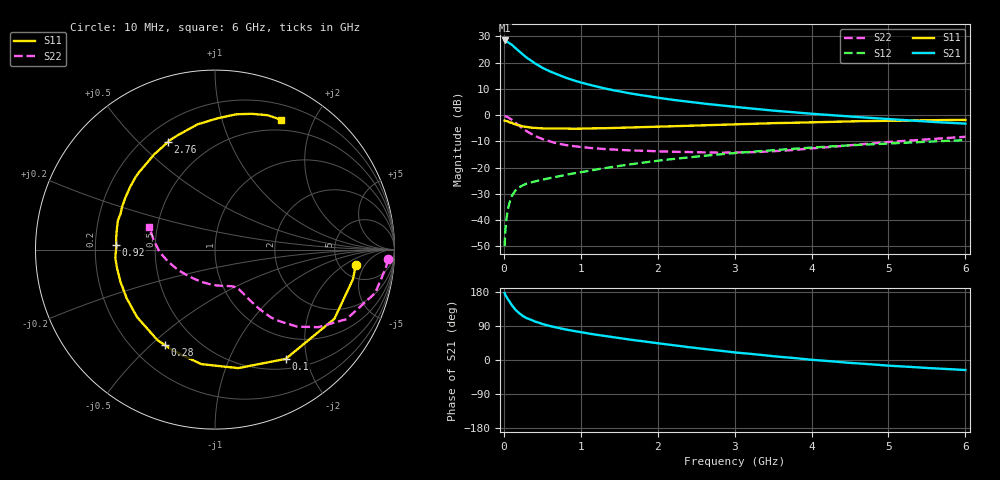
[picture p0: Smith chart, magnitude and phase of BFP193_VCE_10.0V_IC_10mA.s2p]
! Infineon Technologies  Discrete & RF Semiconductors
! BFP193
! VCE = 10.0V,  IC =  10 mA
! Common Emitter S-Parameters:  Jan 2016
# GHz  S  MA  R  50
!  f  S11  S21  S12  S22
! GHz  MAG  ANG  MAG  ANG  MAG  ANG  MAG  ANG
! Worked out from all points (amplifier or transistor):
!   210 points, 10 MHz to 6 GHz, reference 50 ohm
!   highest |S21| = 28.5 dB at 10 MHz (marker M1)
!   |S21| within 3 dB of that: start of sweep to 155.3 MHz
!   unconditionally stable (mu >= 1): 1.077 GHz to 3.903 GHz
!   at 185 MHz: K = 0.32, MSG = 26.3 dB, |S12| = -27.8 dB
!   at 1.52 GHz: K = 1.07, MAG = 12.5 dB, |S12| = -19.3 dB
!   at 6 GHz: K = 0.89, MSG = 3.1 dB, |S12| = -9.5 dB
!   S11 on the Smith chart (normalised r, x): 10 MHz: 6.99, -3.21; 100 MHz: 0.64, -1.65; 280 MHz: 0.33, -0.55; 920 MHz: 0.29, +0.02; 2.76 GHz: 0.29, +0.61; 6 GHz: 0.37, +1.57
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0.01  0.7892 -6.3  26.47 176.6  0.0032 83.5  0.9654 -3.2
0.02  0.786 -12.2  25.78 171.6  0.0064 82.1  0.9569 -6.2
0.05  0.7689 -30.1  24.74 161.2  0.0154 74.3  0.9245 -15.2
0.1  0.7252 -57.1  22.2 145.5  0.0282 62.9  0.8286 -27.9
0.15  0.6729 -78.9  19.03 132.5  0.0368 54.7  0.7185 -37.0
0.2  0.6426 -96.8  16.46 123.3  0.0423 49.9  0.6281 -43.1
0.24  0.6143 -108.4  14.6 117.3  0.0456 46.8  0.5637 -46.4
0.28  0.6005 -117.9  13.08 112.4  0.0486 45.1  0.513 -49.2
0.3  0.5977 -122.4  12.38 110.1  0.05 44.5  0.49 -50.5
0.4  0.5744 -139.1  9.796 101.8  0.0545 42.9  0.405 -53.5
0.5  0.5619 -151.1  7.999 95.0  0.0589 42.6  0.3508 -55.2
0.6  0.5565 -161.1  6.798 89.5  0.0636 43.2  0.3138 -56.4
0.7  0.5556 -169.2  5.901 84.7  0.0677 44.0  0.2884 -57.3
0.92  0.5506 177.5  4.535 76.2  0.0784 45.6  0.2553 -59.0
1.02  0.5553 172.0  4.12 72.7  0.083 46.1  0.2461 -60.2
1.4  0.57 155.2  3.026 60.9  0.1022 47.6  0.223 -66.4
2.02  0.604 134.4  2.131 43.7  0.137 45.8  0.2038 -80.6
2.76  0.6546 113.6  1.572 25.6  0.1767 40.9  0.1933 -104.0
3.1  0.675 106.1  1.393 18.3  0.1948 38.1  0.1953 -116.7
4.1  0.7364 87.4  1.039 -0.9  0.2465 28.9  0.2387 -153.3
5.1  0.7873 73.5  0.825 -16.0  0.2936 19.0  0.3151 -179.9
6  0.8123 62.9  0.69 -26.5  0.3349 9.5  0.3874 161.1
